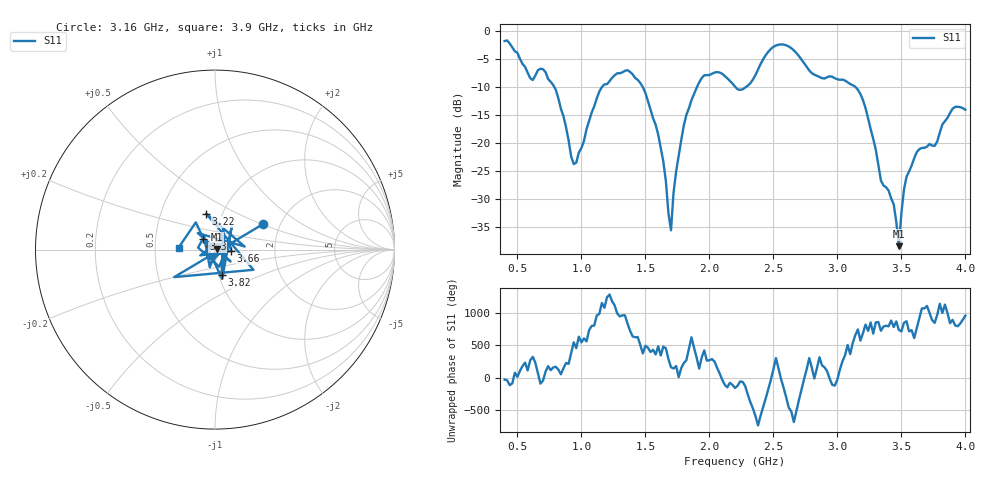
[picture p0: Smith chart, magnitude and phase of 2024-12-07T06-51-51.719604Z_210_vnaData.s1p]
!Created with skrf (http://scikit-rf.org).
# Hz S RI R 50.0
!freq ReS11 ImS11
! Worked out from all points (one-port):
!   181 points, 400 MHz to 4 GHz, reference 50 ohm
!   lowest |S11| = -38.4 dB at 3.48 GHz (marker M1), VSWR 1.02, Z = 51.1 + j0.421 ohm
!   |S11| at or under -10 dB: 788.9 MHz to 1.159 GHz (370.4 MHz wide, 38 % of centre); 1.48 GHz to 1.902 GHz (422 MHz wide, 24.9 % of centre); 3.143 GHz to end of sweep (the widest 3 of 4)
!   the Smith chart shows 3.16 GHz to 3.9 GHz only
!   S11 on the Smith chart (normalised r, x): 3.16 GHz: 1.63, +0.50; 3.22 GHz: 0.84, +0.35; 3.3 GHz: 0.87, +0.10; 3.66 GHz: 1.20, -0.02; 3.82 GHz: 1.03, -0.30; 3.9 GHz: 0.66, +0.02
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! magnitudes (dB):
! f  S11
! 400 MHz  -1.8
! 600 MHz  -8.4
! 720 MHz  -7.3
! 860 MHz  -15.2
! 960 MHz  -23.5
! 1.14 GHz  -10.8
! 1.3 GHz  -7.5
! 1.5 GHz  -11.0
! 1.64 GHz  -23.3
! 1.7 GHz  -35.6
! 1.76 GHz  -22.3
! 1.94 GHz  -8.4
! 2.2 GHz  -9.9
! 2.5 GHz  -2.8
! 2.66 GHz  -3.4
! 3.1 GHz  -9.4
! 3.16 GHz  -10.5
! 3.22 GHz  -13.8
! 3.3 GHz  -21.2
! 3.34 GHz  -26.7
! 3.44 GHz  -31.0
! 3.48 GHz  -38.4
! 3.52 GHz  -28.3
! 3.56 GHz  -25.1
! 3.66 GHz  -20.9
! 3.82 GHz  -16.7
! 3.9 GHz  -13.9
! 4 GHz  -14.0
